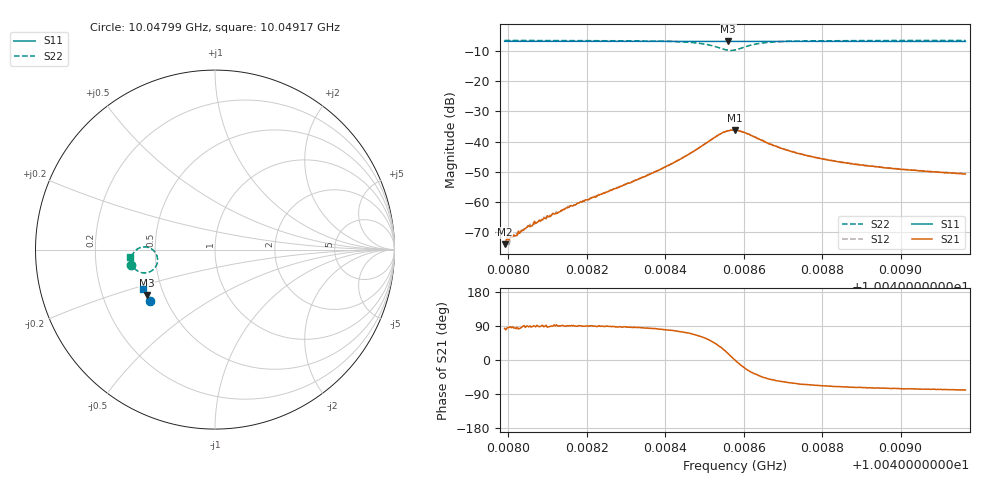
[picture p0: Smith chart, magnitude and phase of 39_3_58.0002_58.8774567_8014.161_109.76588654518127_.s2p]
#  HZ  S  RI  R  50.00
! Rohde & Schwarz Vector Network Analyzer
! Rohde-Schwarz,ZNB20-2Port,1311601062101988,3.16
! Created: UTC 3/21/2024, 12:52:01 AM
! freq[Hz]  re:S11  im:S11  re:S21  im:S21  re:S12  im:S12  re:S22  im:S22
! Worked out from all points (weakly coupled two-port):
!   401 points, 10.04799 GHz to 10.04917 GHz, reference 50 ohm
!   highest |S21| = -36.13 dB at 10.04858 GHz (marker M1); lowest = -74.1 dB at 10.04799 GHz (marker M2)
!   lowest |S11| = -6.8 dB at 10.04856 GHz (marker M3), VSWR 2.68, Z = 20.1 - j12.8 ohm
!   |S11| at or under -10 dB: nowhere
!   |S22| runs from -9.8 to -6.5 dB; largest |S21 - S12| = 0.0012
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1.004799e10  -0.3604 -0.2849  2.3e-05 0.000197  5.29e-06 0.000196  -0.4662 -0.086
1.0047996e10  -0.3606 -0.2848  2.47e-05 0.000253  2.87e-05 0.000252  -0.4664 -0.0854
1.0048002e10  -0.3609 -0.2844  1.72e-05 0.000236  1.63e-05 0.000196  -0.4663 -0.085
1.0048008e10  -0.361 -0.2841  2.2e-05 0.000256  2.38e-05 0.000272  -0.4666 -0.0843
1.0048011e10  -0.3612 -0.2839  1.1e-05 0.000265  -2.43e-05 0.000273  -0.4665 -0.0842
1.0048055e10  -0.3631 -0.2816  1.66e-06 0.000388  -7.6e-06 0.000425  -0.4669 -0.0799
1.0048096e10  -0.3646 -0.2793  -1.72e-05 0.000527  -2.56e-05 0.000559  -0.467 -0.0758
1.0048187e10  -0.3682 -0.2745  1.8e-06 0.000995  -7.6e-05 0.001  -0.4673 -0.0655
1.0048313e10  -0.373 -0.2673  0.000153 0.0021  3.44e-05 0.00213  -0.4652 -0.0465
1.0048384e10  -0.3757 -0.2633  0.000506 0.00334  0.000314 0.0034  -0.4604 -0.0305
1.004844e10  -0.3774 -0.26  0.00136 0.00498  0.00111 0.00509  -0.4497 -0.0123
1.0048487e10  -0.3791 -0.2571  0.00355 0.0071  0.00317 0.00729  -0.4255 0.00734
1.0048531e10  -0.38 -0.2544  0.00926 0.00818  0.00868 0.00859  -0.3698 0.0116
1.004856e10  -0.3804 -0.253  0.0145 0.00446  0.0143 0.00528  -0.3252 -0.0304
1.0048578e10  -0.3809 -0.2525  0.0156 -1.03e-05  0.0155 0.00107  -0.3217 -0.0731
1.004861e10  -0.3823 -0.2514  0.0119 -0.00603  0.0125 -0.00509  -0.3634 -0.124
1.0048651e10  -0.3841 -0.2493  0.00695 -0.0073  0.00761 -0.00689  -0.414 -0.1269
1.004871e10  -0.3866 -0.2458  0.00367 -0.00622  0.00413 -0.00601  -0.4455 -0.108
1.0048775e10  -0.3889 -0.2421  0.00228 -0.00513  0.00264 -0.00504  -0.4584 -0.0909
1.0048866e10  -0.3919 -0.2368  0.00142 -0.00415  0.00165 -0.00411  -0.4659 -0.0743
1.0048972e10  -0.3955 -0.2307  0.000961 -0.00349  0.00117 -0.00349  -0.4698 -0.0603
1.0049166e10  -0.4016 -0.2192  0.000554 -0.00286  0.000744 -0.00287  -0.4729 -0.0407
